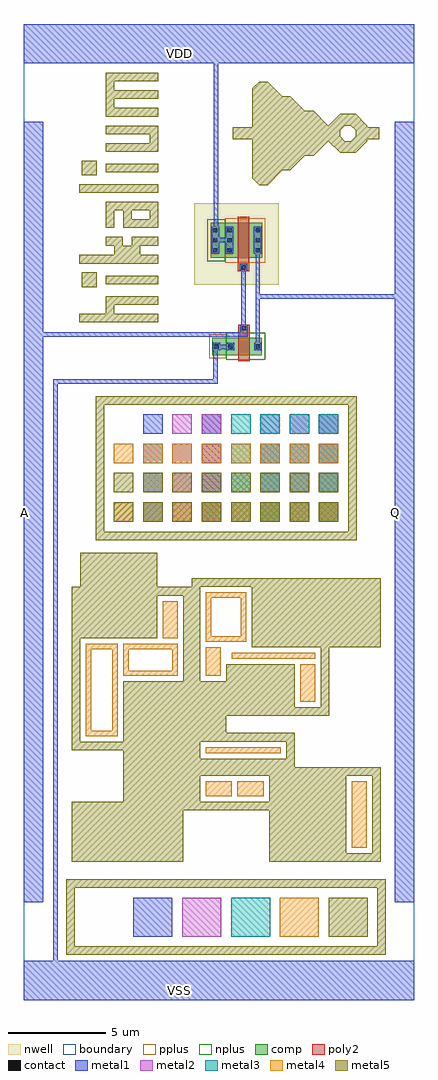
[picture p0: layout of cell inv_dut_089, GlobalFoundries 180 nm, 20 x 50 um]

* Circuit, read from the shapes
.subckt inv_dut_089 A Q VDD VSS
XM1 Q A VSS VSS nfet_03v3 w=0.9u l=0.6u
XM2 Q A VDD VDD pfet_03v3 w=1.8u l=0.6u
.ends

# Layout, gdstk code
from math import pi, radians
import gdstk
lib = gdstk.Library(unit=1e-6, precision=1e-09)
def R(c, l, rs):  # rectangles x0, y0, x1, y1
    for r in rs: c.add(gdstk.rectangle(r[:2], r[2:], *l))
def A(c, l, x, y, w, h, nx, ny, dx, dy):  # array of equal rectangles
    R(c, l, [(x+i*dx, y+j*dy, x+i*dx+w, y+j*dy+h) for i in range(nx) for j in range(ny)])
def P(c, l, *ps):  # polygons
    for p in ps: c.add(gdstk.Polygon(p, *l))
boundary = (0, 0)
nwell = (21, 0)
comp = (22, 0)
poly2 = (30, 0)
pplus = (31, 0)
nplus = (32, 0)
contact = (33, 0)
metal1 = (34, 0)
metal2 = (36, 0)
metal3 = (42, 0)
metal4 = (46, 0)
metal5 = (81, 0)

pfet = lib.new_cell('pfet')
R(pfet, nwell, [(-1.32,-0.99,3.03,3.17)])
R(pfet, comp, [(-0.46,0,2.17,1.8)])
R(pfet, poly2, [(0.19,-0.3,0.79,2.48)])
R(pfet, pplus, [(-0.63,-0.24,1.44,2.04)])
R(pfet, nplus, [(1.44,-0.17,2.34,1.97)])
A(pfet, contact, -0.34, 0.28, 0.22, 0.22, 1, 3, 0, 0.51)
A(pfet, contact, 1.1, 0.28, 0.22, 0.22, 1, 3, 0, 0.51)
A(pfet, contact, 1.83, 0.28, 0.22, 0.22, 1, 3, 0, 0.51)
R(pfet, contact, [(0.38,2.18,0.6,2.4)])
R(pfet, metal1, [(-0.42,0.2,-0.04,1.6), (1.02,0.2,1.4,1.6), (1.75,0.2,2.13,1.6), (0.3,2.1,0.68,2.48)])

nfet = lib.new_cell('nfet')
R(nfet, comp, [(-0.42,0,2.11,0.9)])
R(nfet, poly2, [(0.19,-0.3,0.79,1.56)])
R(nfet, pplus, [(1.4,-0.17,2.28,1.07)])
R(nfet, nplus, [(-0.59,-0.24,1.4,1.14)])
R(nfet, contact, [(-0.32,0.34,-0.1,0.56), (1.08,0.34,1.3,0.56), (1.79,0.34,2.01,0.56), (0.38,1.27,0.6,1.49)])
R(nfet, metal1, [(-0.4,0.26,-0.02,0.64), (1,0.26,1.38,0.64), (1.71,0.26,2.09,0.64), (0.3,1.19,0.68,1.57)])

layer_overlap_tests = lib.new_cell('layer_overlap_tests')
A(layer_overlap_tests, metal1, -3.885, -0.5, 1, 1, 4, 4, 3, 1.5)
R(layer_overlap_tests, metal1, [(-4.385,-21.75,-2.385,-19.75)])
A(layer_overlap_tests, metal2, -2.385, -0.5, 1, 1, 1, 4, 0, 1.5)
A(layer_overlap_tests, metal2, -0.885, -0.5, 1, 1, 1, 4, 0, 1.5)
A(layer_overlap_tests, metal2, 3.615, -0.5, 1, 1, 1, 4, 0, 1.5)
A(layer_overlap_tests, metal2, 5.115, -0.5, 1, 1, 1, 4, 0, 1.5)
R(layer_overlap_tests, metal2, [(-1.885,-21.75,0.115,-19.75)])
A(layer_overlap_tests, metal3, 0.615, -0.5, 1, 1, 4, 4, 1.5, 1.5)
R(layer_overlap_tests, metal3, [(0.615,-21.75,2.615,-19.75)])
A(layer_overlap_tests, metal4, -5.385, -0.5, 1, 1, 8, 2, 1.5, 3)
R(layer_overlap_tests, metal4, [(3.115,-21.75,5.115,-19.75)])
A(layer_overlap_tests, metal5, -5.385, -0.5, 1, 1, 8, 2, 1.5, 1.5)
R(layer_overlap_tests, metal5, [(5.615,-21.75,7.615,-19.75)])
P(layer_overlap_tests, metal5, [(-7.825,-22.69),(-7.825,-19.25),(-7.385,-19.25),(-7.385,-22.25),(8.115,-22.25),(8.115,-19.25),(-7.825,-19.25),(-7.825,-18.81),(8.555,-18.81),(8.555,-22.69)],
  [(-6.325,-1.44),(-6.325,5.5),(-5.885,5.5),(-5.885,-1),(6.615,-1),(6.615,5.5),(-6.325,5.5),(-6.325,5.94),(7.055,5.94),(7.055,-1.44)])

hikalium_lettering = lib.new_cell('hikalium_lettering')
R(hikalium_lettering, metal5, [(-7.02,11.52,-6.27,12.27), (-5.81,11.675,-3.12,12.115), (-7.16,16.35,-3.12,16.79), (-7.02,17.25,-6.27,18), (-5.81,17.405,-3.12,17.845)])
P(hikalium_lettering, metal5, [(-5.81,14.55),(-5.81,15.45),(-4.47,15.45),(-4.47,14.99),(-3.56,14.99),(-3.56,15.45),(-5.81,15.45),(-5.81,15.89),(-3.12,15.89),(-3.12,14.55),(-4.91,14.55),(-4.91,15.45),(-5.37,15.45),(-5.37,14.55)],
  [(-5.81,18.46),(-5.81,18.9),(-3.56,18.9),(-3.56,19.36),(-5.81,19.36),(-5.81,19.8),(-3.12,19.8),(-3.12,18.46)],
  [(-5.81,20.26),(-5.81,22.5),(-3.12,22.5),(-3.12,22.06),(-5.37,22.06),(-5.37,21.6),(-3.12,21.6),(-3.12,21.16),(-5.37,21.16),(-5.37,20.7),(-3.12,20.7),(-3.12,20.26)],
  [(-7.16,9.72),(-7.16,10.16),(-5.81,10.16),(-5.81,11.06),(-3.12,11.06),(-3.12,10.62),(-5.37,10.62),(-5.37,10.16),(-3.12,10.16),(-3.12,9.72)],
  [(-7.16,12.73),(-7.16,13.17),(-5.37,13.17),(-5.37,13.65),(-5.81,13.65),(-5.81,14.09),(-4.93,14.09),(-4.93,13.63),(-4.47,13.63),(-4.47,14.09),(-3.12,14.09),(-3.12,13.65),(-4.03,13.65),(-4.03,13.17),(-3.12,13.17),(-3.12,12.73)])

inverter_symbol = lib.new_cell('inverter_symbol')
P(inverter_symbol, metal5, [(2.05,16.75),(1.7,17.1),(1.7,19.1),(0.7,19.1),(0.7,19.7),(1.7,19.7),(1.7,21.7),(2.05,22.05),(2.5,22.05),(3.25,21.3),(3.65,21.3),(4.4,20.55),(4.85,20.55),(5.6,19.8),(6.45,19.8),(6.2,19.55),(6.2,19.25),(6.45,19),(6.75,19),(7,19.25),(7,19.55),(6.75,19.8),(5.6,19.8),(6.2,20.4),(7,20.4),(7.6,19.8),(7.6,19.7),(8.2,19.7),(8.2,19.1),(7.6,19.1),(7.6,19),(7,18.4),(6.2,18.4),(5.6,19),(4.85,18.25),(4.4,18.25),(3.65,17.5),(3.25,17.5),(2.5,16.75)])

inv_dut_089 = lib.new_cell('inv_dut_089')
R(inv_dut_089, boundary, [(-10,-25,10,25)])
R(inv_dut_089, metal1, [(-10,-25,10,-23), (-10,-20,-9,20), (9,-20,10,20), (1.095,8.99,1.475,9.225), (-10,23,10,25)])
R(inv_dut_089, metal4, [(6.805,-17.2,7.565,-13.8), (-0.675,-14.56,0.645,-13.8), (0.925,-14.56,2.285,-13.8), (-0.675,-12.36,3.165,-12.04), (4.165,-9.72,4.925,-7.8), (-0.675,-8.4,0.085,-6.92), (0.645,-7.52,4.925,-7.2), (-2.875,-6.48,-2.115,-4.56)])
P(inv_dut_089, metal4, [(-6.835,-11.48),(-6.835,-7.04),(-6.555,-7.04),(-6.555,-11.2),(-5.475,-11.2),(-5.475,-7.04),(-6.835,-7.04),(-6.835,-6.76),(-5.195,-6.76),(-5.195,-11.48)],
  [(-4.915,-8.4),(-4.915,-7.04),(-4.635,-7.04),(-4.635,-8.12),(-2.395,-8.12),(-2.395,-7.04),(-4.915,-7.04),(-4.915,-6.76),(-2.115,-6.76),(-2.115,-8.4)],
  [(-0.675,-6.64),(-0.675,-4.4),(-0.395,-4.4),(-0.395,-6.36),(1.125,-6.36),(1.125,-4.4),(-0.675,-4.4),(-0.675,-4.12),(1.405,-4.12),(1.405,-6.64)])
P(inv_dut_089, metal5, [(-7.555,-17.92),(-7.555,-14.84),(-4.915,-14.84),(-4.915,-13.52),(-0.955,-13.52),(-0.955,-14.84),(2.565,-14.84),(2.565,-13.52),(6.525,-13.52),(6.525,-17.48),(7.845,-17.48),(7.845,-13.52),(-4.915,-13.52),(-4.915,-12.2),(-7.555,-12.2),(-7.555,-4.28),(-3.155,-4.28),(-3.155,-6.48),(-7.115,-6.48),(-7.115,-11.76),(-0.955,-11.76),(-0.955,-12.64),(3.445,-12.64),(3.445,-11.76),(-4.915,-11.76),(-4.915,-8.68),(-1.835,-8.68),(-1.835,-4.28),(-7.555,-4.28),(-7.555,-3.84),(-7.115,-3.84),(-7.115,-2.08),(-3.155,-2.08),(-3.155,-3.84),(-0.955,-3.84),(-0.955,-8.68),(0.365,-8.68),(0.365,-7.8),(3.885,-7.8),(3.885,-10),(5.205,-10),(5.205,-6.92),(1.685,-6.92),(1.685,-3.84),(-1.395,-3.84),(-1.395,-3.4),(8.285,-3.4),(8.285,-6.92),(5.645,-6.92),(5.645,-10.44),(0.365,-10.44),(0.365,-11.32),(3.885,-11.32),(3.885,-13.08),(8.285,-13.08),(8.285,-17.92),(2.565,-17.92),(2.565,-15.28),(-1.835,-15.28),(-1.835,-17.92)])
inv_dut_089.add(gdstk.FlexPath([(0.585,8.455),(-0.19,8.455),(-0.19,6.675),(-8.385,6.675),(-8.385,-23.79)], 0.23, ends="flush", simple_path=True, layer=34, datatype=0))  # metal1
inv_dut_089.add(gdstk.FlexPath([(1.275,9.105),(-9.275,9.105)], 0.23, ends="flush", simple_path=True, layer=34, datatype=0))  # metal1
inv_dut_089.add(gdstk.FlexPath([(1.265,12.505),(1.265,9.35)], 0.23, ends="flush", simple_path=True, layer=34, datatype=0))  # metal1
inv_dut_089.add(gdstk.FlexPath([(0.52,13.93),(-0.165,13.93),(-0.165,17.815),(-0.165,17.815),(-0.165,17.815)], 0.23, ends="flush", simple_path=True, layer=34, datatype=0))  # metal1
inv_dut_089.add(gdstk.FlexPath([(1.985,14.41),(1.985,8.39)], 0.23, ends="flush", simple_path=True, layer=34, datatype=0))  # metal1
inv_dut_089.add(gdstk.FlexPath([(1.985,11.045),(5.6,11.045)], 0.23, ends="flush", simple_path=True, layer=34, datatype=0))  # metal1
inv_dut_089.add(gdstk.FlexPath([(5.5,11.045),(9.385,11.045)], 0.23, ends="flush", simple_path=True, layer=34, datatype=0))  # metal1
inv_dut_089.add(gdstk.FlexPath([(-0.165,17.555),(-0.165,23.52)], 0.23, ends="flush", simple_path=True, layer=34, datatype=0))  # metal1
inv_dut_089.add(gdstk.Reference(pfet, (1.75,14.82), rotation=pi))
inv_dut_089.add(gdstk.Reference(nfet, (1.775,8.035), rotation=pi, x_reflection=True))
inv_dut_089.add(gdstk.Reference(layer_overlap_tests, (0,0)))
inv_dut_089.add(gdstk.Reference(hikalium_lettering, (0,0)))
inv_dut_089.add(gdstk.Reference(inverter_symbol, (0,0)))
inv_dut_089.add(gdstk.Label('VDD', (-2,23.5), layer=34, texttype=10))
inv_dut_089.add(gdstk.Label('VSS', (-2,-24.5), layer=34, texttype=10))
inv_dut_089.add(gdstk.Label('A', (-9.97,0), layer=34, texttype=10))
inv_dut_089.add(gdstk.Label('Q', (9.03,0), layer=34, texttype=10))

lib.write_gds('inv_dut_089.gds')
